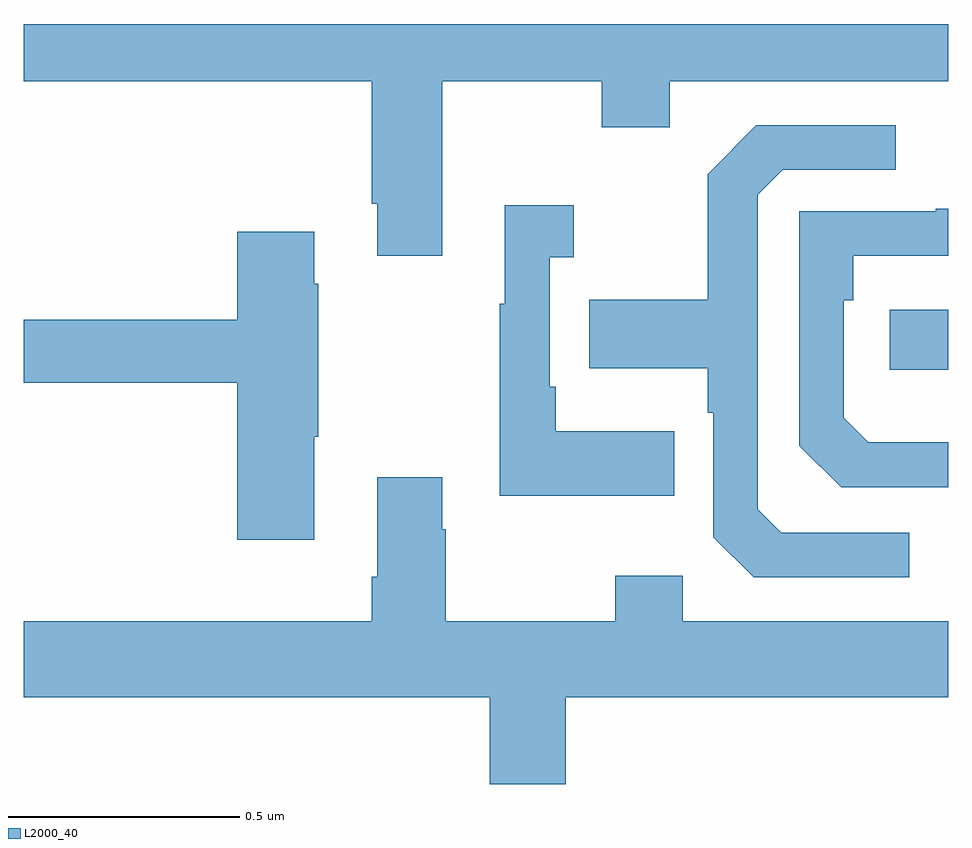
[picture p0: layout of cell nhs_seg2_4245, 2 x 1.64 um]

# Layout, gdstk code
import gdstk
lib = gdstk.Library(unit=1e-6, precision=1e-09)
def R(c, l, rs):  # rectangles x0, y0, x1, y1
    for r in rs: c.add(gdstk.rectangle(r[:2], r[2:], *l))
def P(c, l, *ps):  # polygons
    for p in ps: c.add(gdstk.Polygon(p, *l))
L2000_40 = (2000, 40)

nhs_seg2_4245 = lib.new_cell('nhs_seg2_4245')
R(nhs_seg2_4245, L2000_40, [(165.873,607.052,166,607.182)])
P(nhs_seg2_4245, L2000_40, [(164.905,607.676),(165.25,607.676),(165.25,607.577),(165.397,607.577),(165.397,607.676),(166,607.676),(166,607.8),(164,607.8),(164,607.676),(164.753,607.676),(164.753,607.411),(164.765,607.411),(164.765,607.299),(164.905,607.299)],
  [(165.916,606.699),(165.639,606.699),(165.588,606.75),(165.588,607.431),(165.642,607.485),(165.886,607.485),(165.886,607.581),(165.585,607.581),(165.48,607.475),(165.48,607.203),(165.223,607.203),(165.223,607.055),(165.48,607.055),(165.48,606.959),(165.492,606.959),(165.492,606.69),(165.579,606.603),(165.916,606.603)],
  [(165.407,606.919),(165.151,606.919),(165.151,607.015),(165.138,607.015),(165.138,607.295),(165.19,607.295),(165.19,607.408),(165.041,607.408),(165.041,607.195),(165.03,607.195),(165.03,606.779),(165.407,606.779)],
  [(166,606.895),(165.827,606.895),(165.774,606.948),(165.774,607.202),(165.794,607.202),(165.794,607.299),(166,607.299),(166,607.4),(165.973,607.4),(165.973,607.395),(165.678,607.395),(165.678,606.888),(165.768,606.798),(166,606.798)],
  [(164.629,606.907),(164.637,606.907),(164.637,607.238),(164.629,607.238),(164.629,607.351),(164.462,607.351),(164.462,607.16),(164,607.16),(164,607.024),(164.462,607.024),(164.462,606.684),(164.629,606.684)],
  [(165.172,606.344),(166,606.344),(166,606.508),(165.426,606.508),(165.426,606.607),(165.28,606.607),(165.28,606.508),(164.913,606.508),(164.913,606.707),(164.905,606.707),(164.905,606.82),(164.765,606.82),(164.765,606.604),(164.753,606.604),(164.753,606.508),(164,606.508),(164,606.344),(165.008,606.344),(165.008,606.156),(165.172,606.156)])

lib.write_gds('nhs_seg2_4245.gds')
